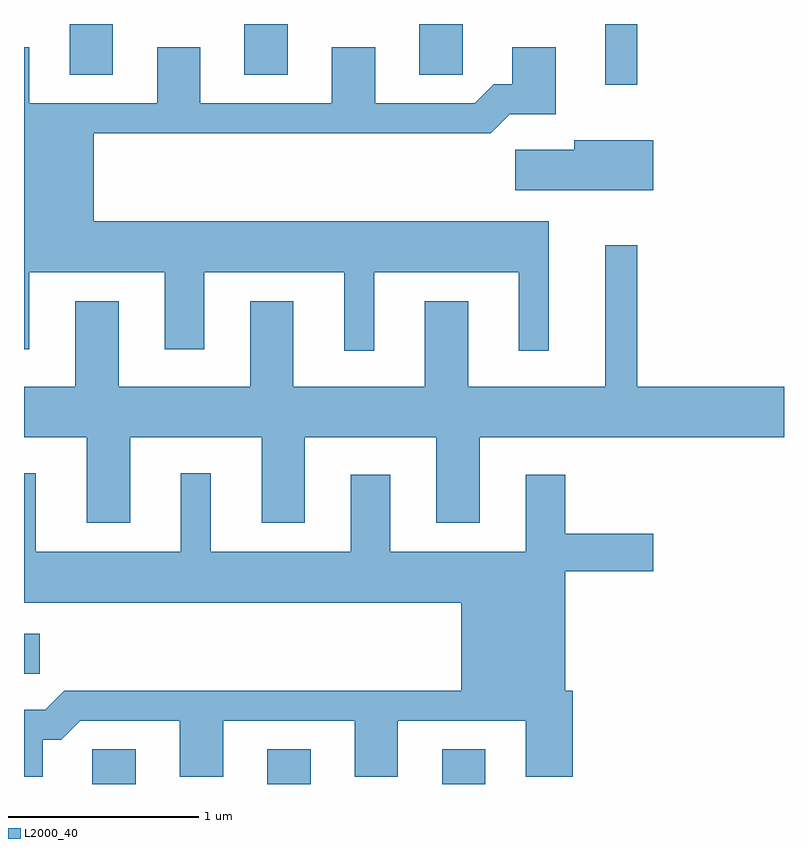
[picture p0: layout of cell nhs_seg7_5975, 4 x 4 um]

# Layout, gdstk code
import gdstk
lib = gdstk.Library(unit=1e-6, precision=1e-09)
def R(c, l, rs):  # rectangles x0, y0, x1, y1
    for r in rs: c.add(gdstk.rectangle(r[:2], r[2:], *l))
def A(c, l, x, y, w, h, nx, ny, dx, dy):  # array of equal rectangles
    R(c, l, [(x+i*dx, y+j*dy, x+i*dx+w, y+j*dy+h) for i in range(nx) for j in range(ny)])
def P(c, l, *ps):  # polygons
    for p in ps: c.add(gdstk.Polygon(p, *l))
L2000_40 = (2000, 40)

nhs_seg7_5975 = lib.new_cell('nhs_seg7_5975')
A(nhs_seg7_5975, L2000_40, 367.971, 1730.252, 0.228, 0.182, 3, 1, 0.92, 0)
A(nhs_seg7_5975, L2000_40, 367.851, 1733.986, 0.228, 0.266, 3, 1, 0.92, 0)
R(nhs_seg7_5975, L2000_40, [(367.611,1730.831,367.694,1731.044), (370.671,1733.933,370.839,1734.252)])
P(nhs_seg7_5975, L2000_40, [(369.454,1732.946),(370.216,1732.946),(370.216,1732.533),(370.374,1732.533),(370.374,1733.214),(367.979,1733.214),(367.979,1733.676),(370.067,1733.676),(370.167,1733.776),(370.409,1733.776),(370.409,1734.129),(370.181,1734.129),(370.181,1733.934),(370.084,1733.934),(369.984,1733.834),(369.459,1733.834),(369.459,1734.129),(369.231,1734.129),(369.231,1733.834),(368.539,1733.834),(368.539,1734.129),(368.311,1734.129),(368.311,1733.834),(367.639,1733.834),(367.639,1734.129),(367.611,1734.129),(367.611,1732.541),(367.639,1732.541),(367.639,1732.946),(368.351,1732.946),(368.351,1732.541),(368.559,1732.541),(368.559,1732.946),(369.296,1732.946),(369.296,1732.533),(369.454,1732.533)],
  [(370.924,1733.639),(370.506,1733.639),(370.506,1733.589),(370.196,1733.589),(370.196,1733.376),(370.924,1733.376)],
  [(368.169,1732.076),(368.861,1732.076),(368.861,1731.626),(369.089,1731.626),(369.089,1732.076),(369.781,1732.076),(369.781,1731.626),(370.009,1731.626),(370.009,1732.076),(371.611,1732.076),(371.611,1732.344),(370.839,1732.344),(370.839,1733.088),(370.671,1733.088),(370.671,1732.344),(369.949,1732.344),(369.949,1732.794),(369.721,1732.794),(369.721,1732.344),(369.029,1732.344),(369.029,1732.794),(368.801,1732.794),(368.801,1732.344),(368.109,1732.344),(368.109,1732.794),(367.881,1732.794),(367.881,1732.344),(367.611,1732.344),(367.611,1732.076),(367.941,1732.076),(367.941,1731.626),(368.169,1731.626)],
  [(367.709,1730.486),(367.807,1730.486),(367.907,1730.586),(368.431,1730.586),(368.431,1730.291),(368.659,1730.291),(368.659,1730.586),(369.351,1730.586),(369.351,1730.291),(369.579,1730.291),(369.579,1730.586),(370.251,1730.586),(370.251,1730.291),(370.499,1730.291),(370.499,1730.744),(370.459,1730.744),(370.459,1731.371),(370.924,1731.371),(370.924,1731.569),(370.459,1731.569),(370.459,1731.879),(370.251,1731.879),(370.251,1731.474),(369.539,1731.474),(369.539,1731.879),(369.331,1731.879),(369.331,1731.474),(368.594,1731.474),(368.594,1731.888),(368.436,1731.888),(368.436,1731.474),(367.674,1731.474),(367.674,1731.888),(367.611,1731.888),(367.611,1731.206),(369.911,1731.206),(369.911,1730.744),(367.824,1730.744),(367.724,1730.644),(367.611,1730.644),(367.611,1730.291),(367.709,1730.291)])

lib.write_gds('nhs_seg7_5975.gds')
